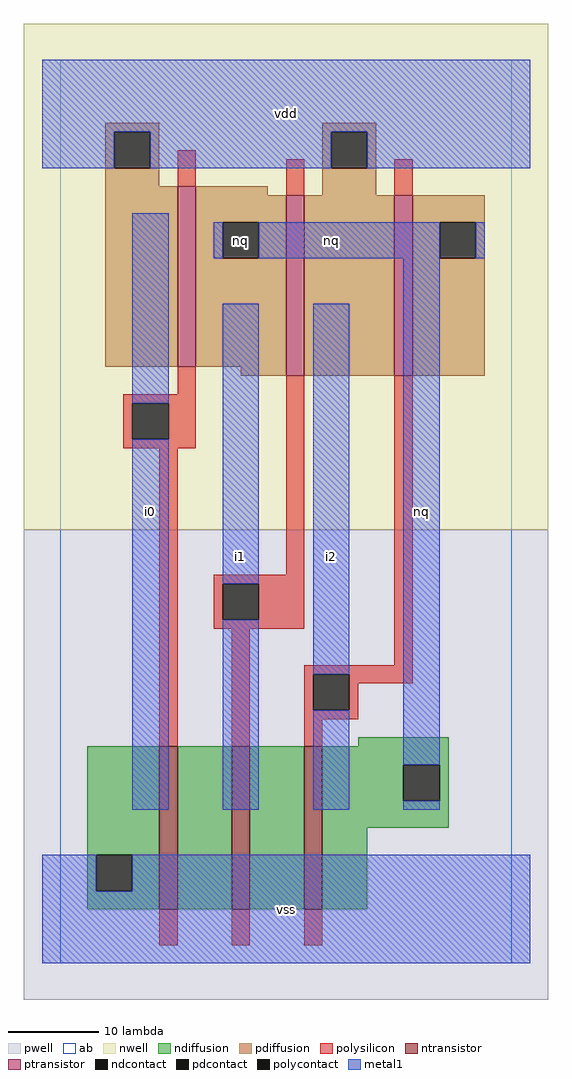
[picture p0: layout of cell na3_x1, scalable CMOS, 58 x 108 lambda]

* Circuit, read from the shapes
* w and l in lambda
.subckt na3_x1 i0 i1 i2 nq vdd vss
M1 n1 i0 vss VSUBS nfet w=18 l=2
M2 n2 i1 n1 VSUBS nfet w=18 l=2
M3 nq i2 n2 VSUBS nfet w=18 l=2
M4 nq i0 vdd n3 pfet w=20 l=2
M5 vdd i1 nq n3 pfet w=20 l=2
M6 nq i2 vdd n3 pfet w=20 l=2
.ends

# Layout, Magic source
magic
tech scmos
<< ab >>
rect 0 0 50 100
<< pwell >>
rect -4 -4 54 48
<< nwell >>
rect -4 48 54 104
<< polysilicon >>
rect 13 86 15 90
rect 25 85 27 89
rect 37 85 39 89
rect 13 63 15 66
rect 7 62 15 63
rect 7 58 8 62
rect 12 58 15 62
rect 7 57 15 58
rect 11 24 13 57
rect 25 43 27 65
rect 17 42 27 43
rect 17 38 18 42
rect 22 38 27 42
rect 17 37 27 38
rect 19 24 21 37
rect 37 33 39 65
rect 27 32 39 33
rect 27 28 28 32
rect 32 31 39 32
rect 32 28 33 31
rect 27 27 33 28
rect 27 24 29 27
rect 11 2 13 6
rect 19 2 21 6
rect 27 2 29 6
<< ndiffusion >>
rect 33 24 43 25
rect 3 12 11 24
rect 3 8 4 12
rect 8 8 11 12
rect 3 6 11 8
rect 13 6 19 24
rect 21 6 27 24
rect 29 22 43 24
rect 29 18 38 22
rect 42 18 43 22
rect 29 15 43 18
rect 29 6 34 15
<< pdiffusion >>
rect 5 92 11 93
rect 5 88 6 92
rect 10 88 11 92
rect 29 92 35 93
rect 5 86 11 88
rect 5 66 13 86
rect 15 85 23 86
rect 29 88 30 92
rect 34 88 35 92
rect 29 85 35 88
rect 15 82 25 85
rect 15 78 18 82
rect 22 78 25 82
rect 15 66 25 78
rect 20 65 25 66
rect 27 65 37 85
rect 39 82 47 85
rect 39 78 42 82
rect 46 78 47 82
rect 39 65 47 78
<< metal1 >>
rect -2 92 52 100
rect -2 88 6 92
rect 10 88 30 92
rect 34 88 52 92
rect 8 62 12 83
rect 17 78 18 82
rect 22 78 42 82
rect 46 78 47 82
rect 8 17 12 58
rect 18 42 22 73
rect 18 17 22 38
rect 28 32 32 73
rect 28 17 32 28
rect 38 22 42 78
rect 38 17 42 18
rect -2 8 4 12
rect 8 8 52 12
rect -2 0 52 8
<< ntransistor >>
rect 11 6 13 24
rect 19 6 21 24
rect 27 6 29 24
<< ptransistor >>
rect 13 66 15 86
rect 25 65 27 85
rect 37 65 39 85
<< polycontact >>
rect 8 58 12 62
rect 18 38 22 42
rect 28 28 32 32
<< ndcontact >>
rect 4 8 8 12
rect 38 18 42 22
<< pdcontact >>
rect 6 88 10 92
rect 30 88 34 92
rect 18 78 22 82
rect 42 78 46 82
<< labels >>
rlabel metal1 20 45 20 45 6 i1
rlabel metal1 10 50 10 50 6 i0
rlabel pdcontact 20 80 20 80 6 nq
rlabel metal1 25 6 25 6 6 vss
rlabel metal1 30 45 30 45 6 i2
rlabel metal1 25 94 25 94 6 vdd
rlabel metal1 30 80 30 80 6 nq
rlabel metal1 40 50 40 50 6 nq
<< end >>
